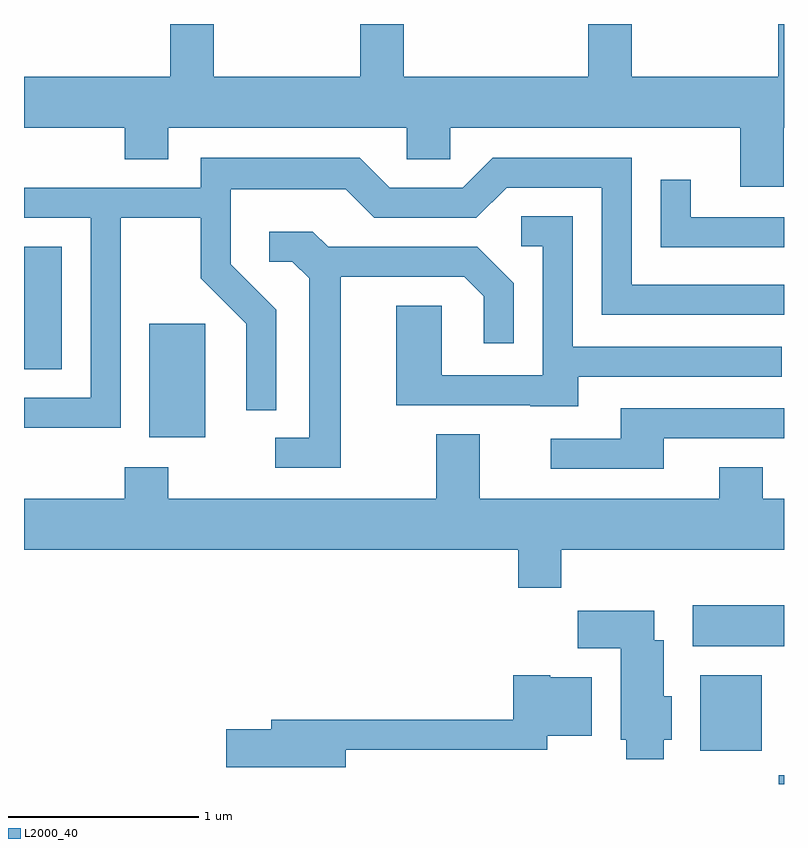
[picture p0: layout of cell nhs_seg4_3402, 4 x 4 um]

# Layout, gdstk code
import gdstk
lib = gdstk.Library(unit=1e-6, precision=1e-09)
def R(c, l, rs):  # rectangles x0, y0, x1, y1
    for r in rs: c.add(gdstk.rectangle(r[:2], r[2:], *l))
def P(c, l, *ps):  # polygons
    for p in ps: c.add(gdstk.Polygon(p, *l))
L2000_40 = (2000, 40)

nhs_seg4_3402 = lib.new_cell('nhs_seg4_3402')
R(nhs_seg4_3402, L2000_40, [(289.583,1257.982,289.611,1258.029), (289.171,1258.156,289.494,1258.554), (289.131,1258.706,289.611,1258.924), (286.271,1259.806,286.564,1260.404), (285.611,1260.166,285.809,1260.809)])
P(nhs_seg4_3402, L2000_40, [(285.611,1261.436),(286.141,1261.436),(286.141,1261.271),(286.369,1261.271),(286.369,1261.436),(287.626,1261.436),(287.626,1261.271),(287.854,1261.271),(287.854,1261.436),(289.381,1261.436),(289.381,1261.126),(289.609,1261.126),(289.609,1261.436),(289.611,1261.436),(289.611,1261.982),(289.581,1261.982),(289.581,1261.704),(288.809,1261.704),(288.809,1261.982),(288.581,1261.982),(288.581,1261.704),(287.609,1261.704),(287.609,1261.982),(287.381,1261.982),(287.381,1261.704),(286.609,1261.704),(286.609,1261.982),(286.381,1261.982),(286.381,1261.704),(285.611,1261.704)],
  [(286.119,1260.961),(286.541,1260.961),(286.541,1260.644),(286.781,1260.404),(286.781,1259.948),(286.939,1259.948),(286.939,1260.477),(286.699,1260.717),(286.699,1261.111),(287.304,1261.111),(287.454,1260.961),(287.992,1260.961),(288.152,1261.121),(288.651,1261.121),(288.651,1260.451),(289.611,1260.451),(289.611,1260.609),(288.809,1260.609),(288.809,1261.279),(288.079,1261.279),(287.919,1261.119),(287.537,1261.119),(287.377,1261.279),(286.541,1261.279),(286.541,1261.119),(285.613,1261.119),(285.613,1260.961),(285.961,1260.961),(285.961,1260.014),(285.613,1260.014),(285.613,1259.856),(286.119,1259.856)],
  [(289.611,1260.964),(289.119,1260.964),(289.119,1261.163),(288.961,1261.163),(288.961,1260.806),(289.611,1260.806)],
  [(288.529,1260.126),(289.598,1260.126),(289.598,1260.284),(288.499,1260.284),(288.499,1260.969),(288.228,1260.969),(288.228,1260.811),(288.341,1260.811),(288.341,1260.134),(287.809,1260.134),(287.809,1260.499),(287.571,1260.499),(287.571,1259.976),(288.275,1259.976),(288.275,1259.971),(288.529,1259.971)],
  [(287.279,1260.651),(287.929,1260.651),(288.031,1260.549),(288.031,1260.303),(288.189,1260.303),(288.189,1260.617),(287.997,1260.809),(287.212,1260.809),(287.132,1260.889),(286.903,1260.889),(286.903,1260.731),(287.024,1260.731),(287.111,1260.644),(287.111,1259.804),(286.933,1259.804),(286.933,1259.646),(287.279,1259.646)],
  [(288.979,1259.801),(289.611,1259.801),(289.611,1259.959),(288.751,1259.959),(288.751,1259.799),(288.383,1259.799),(288.383,1259.641),(288.979,1259.641)],
  [(288.439,1259.216),(289.611,1259.216),(289.611,1259.484),(289.499,1259.484),(289.499,1259.649),(289.271,1259.649),(289.271,1259.484),(288.009,1259.484),(288.009,1259.824),(287.781,1259.824),(287.781,1259.484),(286.369,1259.484),(286.369,1259.649),(286.141,1259.649),(286.141,1259.484),(285.611,1259.484),(285.611,1259.216),(288.211,1259.216),(288.211,1259.016),(288.439,1259.016)],
  [(288.979,1258.216),(289.019,1258.216),(289.019,1258.444),(288.979,1258.444),(288.979,1258.739),(288.929,1258.739),(288.929,1258.894),(288.526,1258.894),(288.526,1258.696),(288.751,1258.696),(288.751,1258.216),(288.781,1258.216),(288.781,1258.111),(288.979,1258.111)],
  [(287.304,1258.161),(288.364,1258.161),(288.364,1258.236),(288.599,1258.236),(288.599,1258.544),(288.38,1258.544),(288.38,1258.554),(288.186,1258.554),(288.186,1258.319),(286.911,1258.319),(286.911,1258.269),(286.676,1258.269),(286.676,1258.071),(287.304,1258.071)])

lib.write_gds('nhs_seg4_3402.gds')
